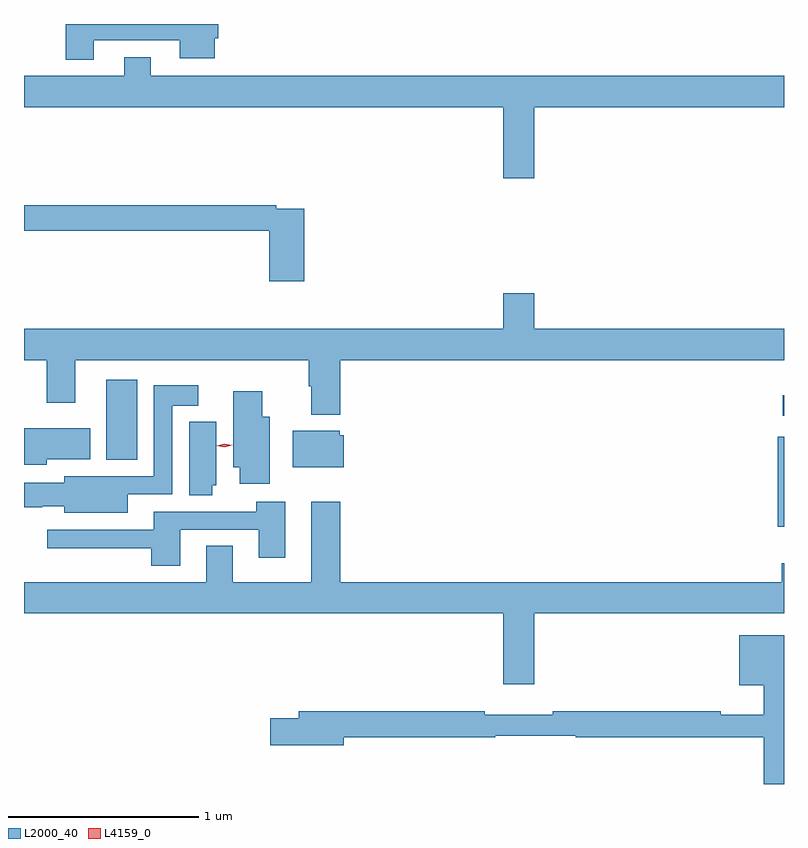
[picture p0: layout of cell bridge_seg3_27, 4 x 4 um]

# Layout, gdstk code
import gdstk
lib = gdstk.Library(unit=1e-6, precision=1e-09)
def R(c, l, rs):  # rectangles x0, y0, x1, y1
    for r in rs: c.add(gdstk.rectangle(r[:2], r[2:], *l))
def P(c, l, *ps):  # polygons
    for p in ps: c.add(gdstk.Polygon(p, *l))
L2000_40 = (2000, 40)
L4159_0 = (4159, 0)

bridge_seg3_27 = lib.new_cell('bridge_seg3_27')
R(bridge_seg3_27, L2000_40, [(705.914,717.354,705.946,717.829), (702.38,717.707,702.541,718.129), (705.939,717.938,705.946,718.046)])
P(bridge_seg3_27, L2000_40, [(702.313,719.916),(702.767,719.916),(702.767,719.822),(702.949,719.822),(702.949,719.926),(702.968,719.926),(702.968,720.001),(702.166,720.001),(702.166,719.814),(702.313,719.814)],
  [(704.632,719.564),(705.946,719.564),(705.946,719.728),(702.613,719.728),(702.613,719.827),(702.473,719.827),(702.473,719.728),(701.946,719.728),(701.946,719.564),(704.468,719.564),(704.468,719.19),(704.632,719.19)],
  [(703.421,719.028),(703.274,719.028),(703.274,719.048),(701.946,719.048),(701.946,718.912),(703.238,718.912),(703.238,718.647),(703.421,718.647)],
  [(703.61,718.232),(705.946,718.232),(705.946,718.396),(704.632,718.396),(704.632,718.585),(704.468,718.585),(704.468,718.396),(701.946,718.396),(701.946,718.232),(702.065,718.232),(702.065,718.008),(702.217,718.008),(702.217,718.232),(703.445,718.232),(703.445,718.094),(703.457,718.094),(703.457,717.944),(703.61,717.944)],
  [(702.493,717.525),(702.726,717.525),(702.726,717.992),(702.862,717.992),(702.862,718.099),(702.63,718.099),(702.63,717.621),(702.384,717.621),(702.384,717.622),(702.158,717.622),(702.158,717.586),(701.946,717.586),(701.946,717.457),(702.042,717.457),(702.042,717.464),(702.158,717.464),(702.158,717.428),(702.493,717.428)],
  [(703.24,717.934),(703.201,717.934),(703.201,718.069),(703.046,718.069),(703.046,717.668),(703.082,717.668),(703.082,717.582),(703.24,717.582)],
  [(702.937,717.573),(702.958,717.573),(702.958,717.907),(702.815,717.907),(702.815,717.52),(702.937,717.52)],
  [(702.066,717.71),(702.295,717.71),(702.295,717.874),(701.946,717.874),(701.946,717.68),(702.066,717.68)],
  [(703.63,717.837),(703.608,717.837),(703.608,717.859),(703.361,717.859),(703.361,717.668),(703.63,717.668)],
  [(704.632,716.9),(705.946,716.9),(705.946,717.163),(705.935,717.163),(705.935,717.064),(703.61,717.064),(703.61,717.487),(703.457,717.487),(703.457,717.064),(703.045,717.064),(703.045,717.254),(702.905,717.254),(702.905,717.064),(701.946,717.064),(701.946,716.9),(704.468,716.9),(704.468,716.526),(704.632,716.526)],
  [(702.769,717.339),(703.181,717.339),(703.181,717.192),(703.321,717.192),(703.321,717.487),(703.169,717.487),(703.169,717.435),(702.629,717.435),(702.629,717.339),(702.069,717.339),(702.069,717.242),(702.617,717.242),(702.617,717.15),(702.769,717.15)],
  [(705.946,716.785),(705.71,716.785),(705.71,716.522),(705.84,716.522),(705.84,716.365),(705.614,716.365),(705.614,716.384),(704.728,716.384),(704.728,716.365),(704.372,716.365),(704.372,716.384),(703.391,716.384),(703.391,716.348),(703.242,716.348),(703.242,716.206),(703.63,716.206),(703.63,716.248),(704.426,716.248),(704.426,716.256),(704.849,716.256),(704.849,716.248),(705.84,716.248),(705.84,716.001),(705.946,716.001)])
P(bridge_seg3_27, L4159_0, [(703.001,717.773),(702.96,717.782),(702.96,717.782),(702.96,717.782),(703.001,717.793),(703.042,717.784),(703.042,717.784),(703.042,717.784)])

lib.write_gds('bridge_seg3_27.gds')
